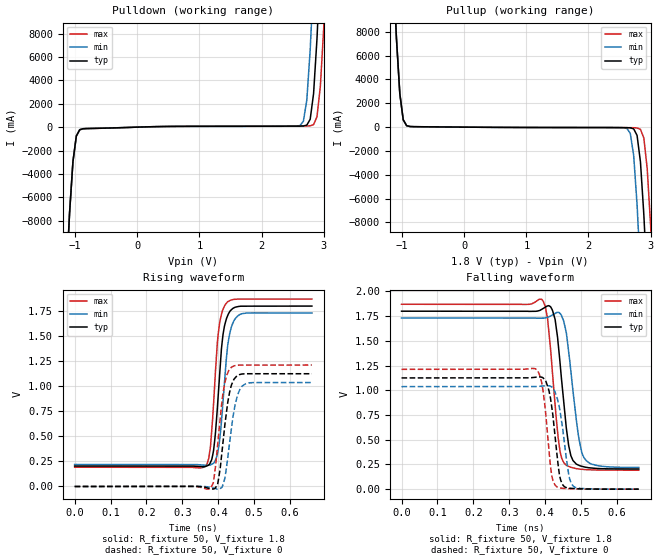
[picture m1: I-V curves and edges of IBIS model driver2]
| IBIS file invchain_skewp_tr200ps.ibs created by PYS2IBIS3
| Missouri S&T EMC Lab
[IBIS Ver] 7.1
[File Name] invchain_skewp_tr200ps.ibs
[File Rev] 1.0
[Date] Jul 27, 2026
[Source] inv_chain variant 'skewp' -- weak PMOS, Wp = Wn
[Notes] Parameter selection; sim_time=6.606e-10, tr=tf=2.000e-10.
[Component] invchain
[Manufacturer] s2ibispy study
[Package]
| variable   typ   min   max
R_pkg 0 NA NA
L_pkg 0H NA NA
C_pkg 0F NA NA
[Pin]  signal_name   model_name   R_pin   L_pin   C_pin
VSSQ   VSSQ   Gnd
VCCQ   VCCQ   Power
| IN IN dummy
PAD   PAD   driver2
| End of Component
| Models and submodels in the file (1): driver2 (Output)
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[Model] driver2
Model_type Output
Polarity Non-Inverting
Enable Active-High
Vinl  = 0.8V
Vinh  = 2V
C_comp 0.4680pF NA NA
[Temperature Range] 27.0000 27.0000 27.0000
[Voltage Range] 1.8000V 1.7000V 1.9000V
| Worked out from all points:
|   slope of the pulldown table from 0 to 0.27 V, typ, clamps not added: 6.79 ohm
|   slope of the pullup table from 0 to 0.27 V, typ, clamps not added: 24.6 ohm
|   rising waveform, R_fixture 50, V_fixture 1.8: 20-80 % time 20.2ps typ, 21.5ps min, 18.9ps max; typ from 0.204 V to 1.8 V
|   rising waveform, R_fixture 50, V_fixture 0: 20-80 % time 22.5ps typ, 24.1ps min, 21.4ps max; typ from 0 V to 1.12 V
|   falling waveform, R_fixture 50, V_fixture 1.8: 20-80 % time 26.1ps typ, 29.3ps min, 23.9ps max; typ from 1.8 V to 0.204 V
|   falling waveform, R_fixture 50, V_fixture 0: 20-80 % time 21.1ps typ, 23.8ps min, 19.4ps max; typ from 1.12 V to 0 V
[Pulldown]
| Voltage   I(typ)   I(min)   I(max)
-1.8V     -87.88A    -87.88A    -87.88A
-1.145V   -13.18A    -13.18A    -13.18A
-1.091V   -7.364A    -7.362A    -7.366A
-981.8mV  -760.7mA   -755.8mA   -765.3mA
-927.3mV  -221.8mA   -216.4mA   -227mA
2.618V    89.37mA    140mA      93.72mA
2.727V    172.9mA    2.318A     99.43mA
2.836V    2.874A     12.68A     215.6mA
2.891V    7.545A     19.33A     885.6mA
2.946V    13.8A      25.98A     3.505A
3V        20.45A     32.63A     8.516A
3.6V      93.6A      105.8A     81.42A
[Pullup]
| Voltage   I(typ)   I(min)   I(max)
-1.8V     93.5A      93.5A      93.5A
-1.145V   13.72A     13.72A     13.72A
-1.091V   7.473A     7.472A     7.473A
-1.036V   2.812A     2.811A     2.812A
-981.8mV  621.2mA    620.4mA    621.9mA
-927.3mV  124.8mA    123.9mA    125.6mA
2.618V    -45.42mA   -113mA     -43.22mA
2.727V    -144.2mA   -2.378A    -50.27mA
2.836V    -2.918A    -12.15A    -185.8mA
2.891V    -7.358A    -18.37A    -914mA
3V        -19.41A    -30.82A    -8.26A
3.6V      -87.89A    -99.3A     -76.48A
[Ramp]
| variable   typ   min   max
dV/dt_r 0.6750/0.0225n 0.6222/0.02381n 0.7272/0.0213n
dV/dt_f 0.9575/0.0263n 0.8971/0.02839n 1.0172/0.02431n
R_load = 50
[Rising Waveform]
R_fixture = 50
V_fixture = 1.8
|time   V(typ)   V(min)   V(max)
0s        204.2mV    219.5mV    192.2mV
364.4ps   199.7mV    211.6mV    202.3mV
378.3ps   241mV      215.9mV    401.2mV
386.9ps   360.7mV    232.2mV    827.5mV
397.4ps   786.2mV    319.4mV    1.437V
409.3ps   1.397V     669.8mV    1.726V
420.6ps   1.648V     1.193V     1.821V
434.5ps   1.757V     1.568V     1.859V
456.9ps   1.797V     1.71V      1.87V
660.6ps   1.8V       1.731V     1.87V
[Rising Waveform]
R_fixture = 50
V_fixture = 0
|time   V(typ)   V(min)   V(max)
0s        9.143nV    8.943nV    9.398nV
374.3ps   -19.96mV   -5.699mV   -24.16mV
386.2ps   -25.3mV    -15.91mV   36.84mV
398.1ps   21.79mV    -26.28mV   412.5mV
412.6ps   427.6mV    15.19mV    919mV
418.6ps   625.6mV    86.03mV    1.039V
429.8ps   914.9mV    388.5mV    1.162V
445.7ps   1.08V      798.8mV    1.205V
466.2ps   1.122V     1.001V     1.212V
660.6ps   1.125V     1.037V     1.212V
[Falling Waveform]
R_fixture = 50
V_fixture = 1.8
|time   V(typ)   V(min)   V(max)
0s        1.8V       1.731V     1.87V
390.2ps   1.818V     1.729V     1.921V
406.7ps   1.853V     1.737V     1.725V
427.2ps   1.723V     1.778V     868.4mV
438.4ps   1.393V     1.787V     455.6mV
458.3ps   637mV      1.594V     244.8mV
470.2ps   353.5mV    1.24V      223.1mV
493.3ps   241.9mV    523.2mV    203.9mV
507.2ps   225.7mV    324.2mV    198.8mV
660.6ps   204.2mV    219.6mV    192.1mV
[Falling Waveform]
R_fixture = 50
V_fixture = 0
|time   V(typ)   V(min)   V(max)
0s        1.125V     1.037V     1.212V
373.6ps   1.132V     1.038V     1.216V
390.2ps   1.132V     1.042V     1.08V
405.4ps   1.057V     1.047V     611.2mV
417.9ps   843.1mV    1.035V     143.9mV
426.5ps   582.9mV    992.3mV    45.75mV
443.7ps   85.23mV    739.6mV    10.4mV
466.2ps   10.36mV    131.5mV    4.474mV
476.8ps   6.951mV    35.04mV    2.887mV
660.6ps   -3.87uV    3.867uV    -5.104uV
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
